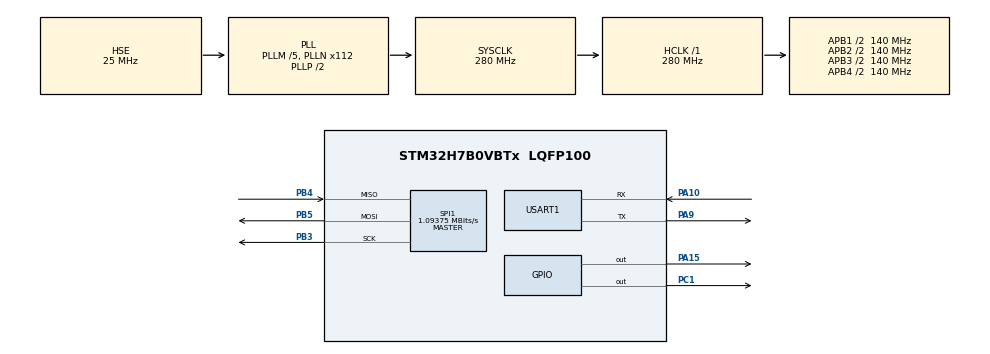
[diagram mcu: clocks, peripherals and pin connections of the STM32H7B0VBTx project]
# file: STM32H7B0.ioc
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CORTEX_M7.CPU_DCache=Disabled
CORTEX_M7.CPU_ICache=Disabled
Dma.Request0=SPI1_RX
Dma.Request1=SPI1_TX
Dma.SPI1_RX.0.Direction=DMA_PERIPH_TO_MEMORY
Dma.SPI1_RX.0.EventEnable=DISABLE
Dma.SPI1_RX.0.FIFOMode=DMA_FIFOMODE_DISABLE
Dma.SPI1_RX.0.Instance=DMA1_Stream0
Dma.SPI1_RX.0.MemDataAlignment=DMA_MDATAALIGN_BYTE
Dma.SPI1_RX.0.MemInc=DMA_MINC_ENABLE
Dma.SPI1_RX.0.Mode=DMA_NORMAL
Dma.SPI1_RX.0.PeriphDataAlignment=DMA_PDATAALIGN_BYTE
Dma.SPI1_RX.0.PeriphInc=DMA_PINC_DISABLE
Dma.SPI1_RX.0.Polarity=HAL_DMAMUX_REQ_GEN_RISING
Dma.SPI1_RX.0.Priority=DMA_PRIORITY_LOW
Dma.SPI1_RX.0.RequestNumber=1
Dma.SPI1_RX.0.SignalID=NONE
Dma.SPI1_RX.0.SyncEnable=DISABLE
Dma.SPI1_RX.0.SyncPolarity=HAL_DMAMUX_SYNC_NO_EVENT
Dma.SPI1_RX.0.SyncRequestNumber=1
Dma.SPI1_RX.0.SyncSignalID=NONE
Dma.SPI1_TX.1.Direction=DMA_MEMORY_TO_PERIPH
Dma.SPI1_TX.1.EventEnable=DISABLE
Dma.SPI1_TX.1.FIFOMode=DMA_FIFOMODE_DISABLE
Dma.SPI1_TX.1.Instance=DMA1_Stream1
Dma.SPI1_TX.1.MemDataAlignment=DMA_MDATAALIGN_BYTE
Dma.SPI1_TX.1.MemInc=DMA_MINC_ENABLE
Dma.SPI1_TX.1.Mode=DMA_NORMAL
Dma.SPI1_TX.1.PeriphDataAlignment=DMA_PDATAALIGN_BYTE
Dma.SPI1_TX.1.PeriphInc=DMA_PINC_DISABLE
Dma.SPI1_TX.1.Polarity=HAL_DMAMUX_REQ_GEN_RISING
Dma.SPI1_TX.1.Priority=DMA_PRIORITY_LOW
Dma.SPI1_TX.1.RequestNumber=1
Dma.SPI1_TX.1.SignalID=NONE
Dma.SPI1_TX.1.SyncEnable=DISABLE
Dma.SPI1_TX.1.SyncPolarity=HAL_DMAMUX_SYNC_NO_EVENT
Dma.SPI1_TX.1.SyncRequestNumber=1
Dma.SPI1_TX.1.SyncSignalID=NONE
FREERTOS.Tasks01=defaultTask,24,128,StartDefaultTask,Default,NULL,Dynamic,NULL,NULL;w25qxxTask,24,256,StartW25qxxTask,Default,NULL,Dynamic,NULL,NULL
Mcu.Family=STM32H7
Mcu.Name=STM32H7B0VBTx
Mcu.Package=LQFP100
NVIC.DMA1_Stream0_IRQn=true\:5\:0\:false\:false\:true\:true\:false\:true\:true
NVIC.DMA1_Stream1_IRQn=true\:5\:0\:false\:false\:true\:true\:false\:true\:true
NVIC.PriorityGroup=NVIC_PRIORITYGROUP_4
NVIC.SPI1_IRQn=true\:5\:0\:false\:false\:true\:true\:false\:true\:true
NVIC.TIM2_IRQn=true\:15\:0\:false\:false\:true\:false\:false\:true\:true
NVIC.TimeBase=TIM2_IRQn
NVIC.TimeBaseIP=TIM2
PA10.Mode=Asynchronous
PA10.Signal=USART1_RX
PA15.GPIO_Speed=GPIO_SPEED_FREQ_VERY_HIGH
PA15.Signal=GPIO_Output
PA9.Mode=Asynchronous
PA9.Signal=USART1_TX
PB3.Mode=Full_Duplex_Master
PB3.Signal=SPI1_SCK
PB4.Mode=Full_Duplex_Master
PB4.Signal=SPI1_MISO
PB5.Mode=Full_Duplex_Master
PB5.Signal=SPI1_MOSI
PC1.Signal=GPIO_Output
PH0-OSC_IN.Mode=HSE-External-Oscillator
PH0-OSC_IN.Signal=RCC_OSC_IN
PH1-OSC_OUT.Mode=HSE-External-Oscillator
PH1-OSC_OUT.Signal=RCC_OSC_OUT
ProjectManager.HeapSize=0x2000
ProjectManager.StackSize=0x3000
ProjectManager.TargetToolchain=MDK-ARM V5.27
RCC.ADCFreq_Value=50390625
RCC.APB1Freq_Value=140000000
RCC.APB2Freq_Value=140000000
RCC.APB3Freq_Value=140000000
RCC.APB4Freq_Value=140000000
RCC.CDPPRE=RCC_APB3_DIV2
RCC.CDPPRE1=RCC_APB1_DIV2
RCC.CDPPRE2=RCC_APB2_DIV2
RCC.CortexFreq_Value=280000000
RCC.DIVM1=5
RCC.DIVM3=25
RCC.DIVN1=112
RCC.DIVN3=330
RCC.DIVR3=10
RCC.FLatency=FLASH_LATENCY_6
RCC.HCLKFreq_Value=280000000
RCC.HSE_VALUE=25000000
RCC.PLLSourceVirtual=RCC_PLLSOURCE_HSE
RCC.PWR_Regulator_Voltage_Scale=PWR_REGULATOR_VOLTAGE_SCALE0
RCC.SRDPPRE=RCC_APB4_DIV2
RCC.SYSCLKFreq_VALUE=280000000
RCC.SYSCLKSource=RCC_SYSCLKSOURCE_PLLCLK
RCC.SupplySource=PWR_LDO_SUPPLY
RCC.USBFreq_Value=280000000
SPI1.BaudRatePrescaler=SPI_BAUDRATEPRESCALER_256
SPI1.CalculateBaudRate=1.09375 MBits/s
SPI1.DataSize=SPI_DATASIZE_8BIT
SPI1.Direction=SPI_DIRECTION_2LINES
SPI1.Mode=SPI_MODE_MASTER
SPI1.NSSPMode=SPI_NSS_PULSE_DISABLE
SPI1.VirtualType=VM_MASTER
STMicroelectronics.X-CUBE-TOUCHGFX.4.21.3.tgfx_address1=0x24000000
STMicroelectronics.X-CUBE-TOUCHGFX.4.21.3.tgfx_block_size=16000
STMicroelectronics.X-CUBE-TOUCHGFX.4.21.3.tgfx_buffering_strategy=Single
STMicroelectronics.X-CUBE-TOUCHGFX.4.21.3.tgfx_display_interface=disp_ltdc
STMicroelectronics.X-CUBE-TOUCHGFX.4.21.3.tgfx_location=By Address
STMicroelectronics.X-CUBE-TOUCHGFX.4.21.3.tgfx_number_of_blocks=100
STMicroelectronics.X-CUBE-TOUCHGFX.4.21.3_IsPackSelfContextualization=true
USART1.VirtualMode-Asynchronous=VM_ASYNC
VP_FREERTOS_VS_CMSIS_V2.Mode=CMSIS_V2
VP_SYS_VS_tim2.Mode=TIM2
board=custom

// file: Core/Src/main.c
/* USER CODE BEGIN Header */
/**
  ******************************************************************************
  * @file           : main.c
  * @brief          : Main program body
  ******************************************************************************
  * @attention
  *
  * Copyright (c) 2023 STMicroelectronics.
  * All rights reserved.
  *
  * This software is licensed under terms that can be found in the LICENSE file
  * in the root directory of this software component.
  * If no LICENSE file comes with this software, it is provided AS-IS.
  *
  ******************************************************************************
  */
/* USER CODE END Header */
#include "main.h"
#include "cmsis_os.h"

/* USER CODE BEGIN Includes */
#include "spi_drv.h"
#include "hw_w25qxx.h"
#include "lfs_user.h"
/* USER CODE END Includes */

SPI_HandleTypeDef hspi1;
DMA_HandleTypeDef hdma_spi1_rx;
DMA_HandleTypeDef hdma_spi1_tx;

UART_HandleTypeDef huart1;

/* Definitions for defaultTask */
osThreadId_t defaultTaskHandle;
const osThreadAttr_t defaultTask_attributes = {
  .name = "defaultTask",
  .stack_size = 128 * 4,
  .priority = (osPriority_t) osPriorityNormal,
};
/* Definitions for w25qxxTask */
osThreadId_t w25qxxTaskHandle;
const osThreadAttr_t w25qxxTask_attributes = {
  .name = "w25qxxTask",
  .stack_size = 1024 * 4,
  .priority = (osPriority_t) osPriorityNormal,
};

void SystemClock_Config(void);
static void MX_GPIO_Init(void);
static void MX_DMA_Init(void);
static void MX_SPI1_Init(void);
static void MX_USART1_UART_Init(void);
void StartDefaultTask(void *argument);
void StartW25qxxTask(void *argument);

int main(void)
{

  /* MCU Configuration--------------------------------------------------------*/

  /* Reset of all peripherals, Initializes the Flash interface and the Systick. */
  HAL_Init();

  /* Configure the system clock */
  SystemClock_Config();

  /* Initialize all configured peripherals */
  MX_GPIO_Init();
  MX_DMA_Init();
  MX_SPI1_Init();
  MX_USART1_UART_Init();

  /* Init scheduler */
  osKernelInitialize();

  /* Create the thread(s) */
  /* creation of defaultTask */
  defaultTaskHandle = osThreadNew(StartDefaultTask, NULL, &defaultTask_attributes);

  /* creation of w25qxxTask */
  w25qxxTaskHandle = osThreadNew(StartW25qxxTask, NULL, &w25qxxTask_attributes);

  /* Start scheduler */
  osKernelStart();

  /* We should never get here as control is now taken by the scheduler */
  /* Infinite loop */
  while (1)
  {

  }
}

void SystemClock_Config(void)
{
  RCC_OscInitTypeDef RCC_OscInitStruct = {0};
  RCC_ClkInitTypeDef RCC_ClkInitStruct = {0};

  /*AXI clock gating */
  RCC->CKGAENR = 0xFFFFFFFF;

  /** Supply configuration update enable
  */
  HAL_PWREx_ConfigSupply(PWR_LDO_SUPPLY);

  /** Configure the main internal regulator output voltage
  */
  __HAL_PWR_VOLTAGESCALING_CONFIG(PWR_REGULATOR_VOLTAGE_SCALE0);

  while(!__HAL_PWR_GET_FLAG(PWR_FLAG_VOSRDY)) {}

  /** Initializes the RCC Oscillators according to the specified parameters
  * in the RCC_OscInitTypeDef structure.
  */
  RCC_OscInitStruct.OscillatorType = RCC_OSCILLATORTYPE_HSE;
  RCC_OscInitStruct.HSEState = RCC_HSE_ON;
  RCC_OscInitStruct.PLL.PLLState = RCC_PLL_ON;
  RCC_OscInitStruct.PLL.PLLSource = RCC_PLLSOURCE_HSE;
  RCC_OscInitStruct.PLL.PLLM = 5;
  RCC_OscInitStruct.PLL.PLLN = 112;
  RCC_OscInitStruct.PLL.PLLP = 2;
  RCC_OscInitStruct.PLL.PLLQ = 2;
  RCC_OscInitStruct.PLL.PLLR = 2;
  RCC_OscInitStruct.PLL.PLLRGE = RCC_PLL1VCIRANGE_2;
  RCC_OscInitStruct.PLL.PLLVCOSEL = RCC_PLL1VCOWIDE;
  RCC_OscInitStruct.PLL.PLLFRACN = 0;
  if (HAL_RCC_OscConfig(&RCC_OscInitStruct) != HAL_OK)
  {
    Error_Handler();
  }

  /** Initializes the CPU, AHB and APB buses clocks
  */
  RCC_ClkInitStruct.ClockType = RCC_CLOCKTYPE_HCLK|RCC_CLOCKTYPE_SYSCLK
                              |RCC_CLOCKTYPE_PCLK1|RCC_CLOCKTYPE_PCLK2
                              |RCC_CLOCKTYPE_D3PCLK1|RCC_CLOCKTYPE_D1PCLK1;
  RCC_ClkInitStruct.SYSCLKSource = RCC_SYSCLKSOURCE_PLLCLK;
  RCC_ClkInitStruct.SYSCLKDivider = RCC_SYSCLK_DIV1;
  RCC_ClkInitStruct.AHBCLKDivider = RCC_HCLK_DIV1;
  RCC_ClkInitStruct.APB3CLKDivider = RCC_APB3_DIV2;
  RCC_ClkInitStruct.APB1CLKDivider = RCC_APB1_DIV2;
  RCC_ClkInitStruct.APB2CLKDivider = RCC_APB2_DIV2;
  RCC_ClkInitStruct.APB4CLKDivider = RCC_APB4_DIV2;

  if (HAL_RCC_ClockConfig(&RCC_ClkInitStruct, FLASH_LATENCY_6) != HAL_OK)
  {
    Error_Handler();
  }
}

static void MX_SPI1_Init(void)
{

  /* SPI1 parameter configuration*/
  hspi1.Instance = SPI1;
  hspi1.Init.Mode = SPI_MODE_MASTER;
  hspi1.Init.Direction = SPI_DIRECTION_2LINES;
  hspi1.Init.DataSize = SPI_DATASIZE_8BIT;
  hspi1.Init.CLKPolarity = SPI_POLARITY_LOW;
  hspi1.Init.CLKPhase = SPI_PHASE_1EDGE;
  hspi1.Init.NSS = SPI_NSS_SOFT;
  hspi1.Init.BaudRatePrescaler = SPI_BAUDRATEPRESCALER_8;
  hspi1.Init.FirstBit = SPI_FIRSTBIT_MSB;
  hspi1.Init.TIMode = SPI_TIMODE_DISABLE;
  hspi1.Init.CRCCalculation = SPI_CRCCALCULATION_DISABLE;
  hspi1.Init.CRCPolynomial = 0x0;
  hspi1.Init.NSSPMode = SPI_NSS_PULSE_DISABLE;
  hspi1.Init.NSSPolarity = SPI_NSS_POLARITY_LOW;
  hspi1.Init.FifoThreshold = SPI_FIFO_THRESHOLD_01DATA;
  hspi1.Init.TxCRCInitializationPattern = SPI_CRC_INITIALIZATION_ALL_ZERO_PATTERN;
  hspi1.Init.RxCRCInitializationPattern = SPI_CRC_INITIALIZATION_ALL_ZERO_PATTERN;
  hspi1.Init.MasterSSIdleness = SPI_MASTER_SS_IDLENESS_00CYCLE;
  hspi1.Init.MasterInterDataIdleness = SPI_MASTER_INTERDATA_IDLENESS_00CYCLE;
  hspi1.Init.MasterReceiverAutoSusp = SPI_MASTER_RX_AUTOSUSP_DISABLE;
  hspi1.Init.MasterKeepIOState = SPI_MASTER_KEEP_IO_STATE_DISABLE;
  hspi1.Init.IOSwap = SPI_IO_SWAP_DISABLE;
  if (HAL_SPI_Init(&hspi1) != HAL_OK)
  {
    Error_Handler();
  }

}

static void MX_USART1_UART_Init(void)
{

  huart1.Instance = USART1;
  huart1.Init.BaudRate = 115200;
  huart1.Init.WordLength = UART_WORDLENGTH_8B;
  huart1.Init.StopBits = UART_STOPBITS_1;
  huart1.Init.Parity = UART_PARITY_NONE;
  huart1.Init.Mode = UART_MODE_TX_RX;
  huart1.Init.HwFlowCtl = UART_HWCONTROL_NONE;
  huart1.Init.OverSampling = UART_OVERSAMPLING_16;
  huart1.Init.OneBitSampling = UART_ONE_BIT_SAMPLE_DISABLE;
  huart1.Init.ClockPrescaler = UART_PRESCALER_DIV1;
  huart1.AdvancedInit.AdvFeatureInit = UART_ADVFEATURE_NO_INIT;
  if (HAL_UART_Init(&huart1) != HAL_OK)
  {
    Error_Handler();
  }
  if (HAL_UARTEx_SetTxFifoThreshold(&huart1, UART_TXFIFO_THRESHOLD_1_8) != HAL_OK)
  {
    Error_Handler();
  }
  if (HAL_UARTEx_SetRxFifoThreshold(&huart1, UART_RXFIFO_THRESHOLD_1_8) != HAL_OK)
  {
    Error_Handler();
  }
  if (HAL_UARTEx_DisableFifoMode(&huart1) != HAL_OK)
  {
    Error_Handler();
  }

}

static void MX_DMA_Init(void)
{

  /* DMA controller clock enable */
  __HAL_RCC_DMA1_CLK_ENABLE();

  /* DMA interrupt init */
  /* DMA1_Stream0_IRQn interrupt configuration */
  HAL_NVIC_SetPriority(DMA1_Stream0_IRQn, 5, 0);
  HAL_NVIC_EnableIRQ(DMA1_Stream0_IRQn);
  /* DMA1_Stream1_IRQn interrupt configuration */
  HAL_NVIC_SetPriority(DMA1_Stream1_IRQn, 5, 0);
  HAL_NVIC_EnableIRQ(DMA1_Stream1_IRQn);

}

static void MX_GPIO_Init(void)
{
  GPIO_InitTypeDef GPIO_InitStruct = {0};

  /* GPIO Ports Clock Enable */
  __HAL_RCC_GPIOH_CLK_ENABLE();
  __HAL_RCC_GPIOC_CLK_ENABLE();
  __HAL_RCC_GPIOA_CLK_ENABLE();
  __HAL_RCC_GPIOB_CLK_ENABLE();

  /*Configure GPIO pin Output Level */
  HAL_GPIO_WritePin(GPIOC, GPIO_PIN_1, GPIO_PIN_RESET);

  /*Configure GPIO pin Output Level */
  HAL_GPIO_WritePin(GPIOA, GPIO_PIN_15, GPIO_PIN_RESET);

  /*Configure GPIO pin : PC1 */
  GPIO_InitStruct.Pin = GPIO_PIN_1;
  GPIO_InitStruct.Mode = GPIO_MODE_OUTPUT_PP;
  GPIO_InitStruct.Pull = GPIO_NOPULL;
  GPIO_InitStruct.Speed = GPIO_SPEED_FREQ_LOW;
  HAL_GPIO_Init(GPIOC, &GPIO_InitStruct);

  /*Configure GPIO pin : PA15 */
  GPIO_InitStruct.Pin = GPIO_PIN_15;
  GPIO_InitStruct.Mode = GPIO_MODE_OUTPUT_PP;
  GPIO_InitStruct.Pull = GPIO_NOPULL;
  GPIO_InitStruct.Speed = GPIO_SPEED_FREQ_VERY_HIGH;
  HAL_GPIO_Init(GPIOA, &GPIO_InitStruct);

}

void StartDefaultTask(void *argument)
{
  for(;;)
  {
    osDelay(1);
  }
}

/* USER CODE BEGIN Header_StartW25qxxTask */
/**
* @brief Function implementing the w25qxxTask thread.
* @param argument: Not used
* @retval None
*/
uint8_t g_rbuf[1024*32] = {0};
volatile uint32_t tick_start = 0;
volatile uint32_t tick_end = 0;
uint32_t g_size = 0;
/* USER CODE END Header_StartW25qxxTask */
void StartW25qxxTask(void *argument)
{
  /* USER CODE BEGIN StartW25qxxTask */
  spi_init();
  spi_dev_init(0);
  uint16_t id = 0;

  /* Infinite loop */
  for(;;)
  {
#if 1
    w25qxx_get_id(&id);
    tick_start = HAL_GetTick();
    w25qxx_read(0*1024, g_rbuf, 1024*32);
    w25qxx_read(32*1024, g_rbuf, 1024*32);
    w25qxx_read(64*1024, g_rbuf, 1024*32);
    tick_end = HAL_GetTick();
#endif

#if 1
    tick_start = HAL_GetTick();
    w25qxx_erase_page(0);
    w25qxx_write(0*4096, (uint8_t *)"hello, world! chs...", sizeof("hello, world! chs..."));
    w25qxx_read(0*1024, g_rbuf, 1024*32);
    w25qxx_erase_page(2);
    w25qxx_write(2*4096, (uint8_t *)"hello, world! zrui...", sizeof("hello, world! zrui..."));
    w25qxx_read(0*1024, g_rbuf, 1024*32);
    tick_end = HAL_GetTick();
#endif
    osDelay(5000);
  }
  /* USER CODE END StartW25qxxTask */
}

void HAL_TIM_PeriodElapsedCallback(TIM_HandleTypeDef *htim)
{
  if (htim->Instance == TIM2) {
    HAL_IncTick();
  }
}

void Error_Handler(void)
{
  __disable_irq();
  while (1)
  {
  }
}
